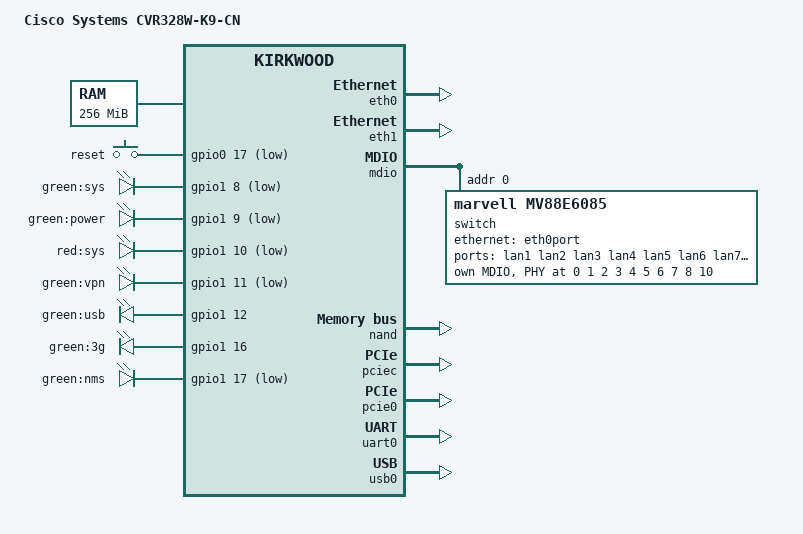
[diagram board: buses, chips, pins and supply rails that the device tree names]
// SPDX-License-Identifier: GPL-2.0-or-later OR MIT

/dts-v1/;

#include "kirkwood.dtsi"
#include "kirkwood-6282.dtsi"

/ {
	model = "Cisco Systems CVR328W-K9-CN";
	compatible = "cisco,cvr328w", "cybertan,cvr328w", "marvell,kirkwood-88f6282", "marvell,kirkwood";

	aliases {
		led-boot = &led_power;
		led-failsafe = &led_sys_red;
		led-running = &led_power;
		led-upgrade = &led_sys_green;
		serial0 = &uart0;
	};

	chosen {
		/*
		 * "root" argument from the stock bootloader should be ignored
		 * as it'll prevent the kernel from finding the correct rootfs.
		 */
		bootargs-append = " ro root=";
		stdout-path = "serial0:115200n8";
	};

	memory@0 {
		device_type = "memory";
		reg = <0x00000000 0x10000000>;
	};

	gpio-keys {
		compatible = "gpio-keys";
		pinctrl-0 = <&pmx_buttons>;
		pinctrl-names = "default";

		reset {
			label = "reset";
			gpios = <&gpio0 17 GPIO_ACTIVE_LOW>;
			linux,code = <KEY_RESTART>;
		};
	};

	gpio-leds {
		compatible = "gpio-leds";
		pinctrl-0 = <&pmx_leds>;
		pinctrl-names = "default";

		led_sys_green: sys-green {
			label = "green:sys";
			gpios = <&gpio1 8 GPIO_ACTIVE_LOW>;
		};

		led_power: power {
			label = "green:power";
			gpios = <&gpio1 9 GPIO_ACTIVE_LOW>;
		};

		/* Note: sys-green and sys-red cannot be activated simultaneously */
		led_sys_red: sys-red {
			label = "red:sys";
			gpios = <&gpio1 10 GPIO_ACTIVE_LOW>;
		};

		vpn {
			label = "green:vpn";
			gpios = <&gpio1 11 GPIO_ACTIVE_LOW>;
		};

		usb {
			label = "green:usb";
			gpios = <&gpio1 12 GPIO_ACTIVE_HIGH>;
			trigger-sources = <&hub_port1>;
			linux,default-trigger = "usbport";
		};

		3g {
			label = "green:3g";
			gpios = <&gpio1 16 GPIO_ACTIVE_HIGH>;
			trigger-sources = <&hub_port4>;
			linux,default-trigger = "usbport";
		};

		nms {
			label = "green:nms";
			gpios = <&gpio1 17 GPIO_ACTIVE_LOW>;
		};
	};
};

&eth0 {
	status = "okay";

	ethernet0-port@0 {
		phy-mode = "gmii";
		speed = <1000>;
		duplex = <1>;
	};
};

/* Need to "set" eth1 to "MII mode", so eth0 can enter GMII mode */
&eth1 {
	status = "okay";

	ethernet1-port@0 {
		phy-mode = "internal";
	};
};

&mdio {
	status = "okay";

	switch@0 {
		/* Marvell 88E6095F */
		compatible = "marvell,mv88e6085";
		reg = <0>;

		ports {
			#address-cells = <1>;
			#size-cells = <0>;

			port@0 {
				reg = <0>;
				label = "lan1";
			};

			port@1 {
				reg = <1>;
				label = "lan2";
			};

			port@2 {
				reg = <2>;
				label = "lan3";
			};

			port@3 {
				reg = <3>;
				label = "lan4";
			};

			port@4 {
				reg = <4>;
				label = "lan5";
			};

			port@5 {
				reg = <5>;
				label = "lan6";
			};

			port@6 {
				reg = <6>;
				label = "lan7";
			};

			port@7 {
				reg = <7>;
				label = "lan8";
			};

			port@8 {
				reg = <8>;
				label = "lan0";
			};

			port@9 {
				reg = <9>;
				label = "cpu";
				phy-mode = "gmii";
				ethernet = <&eth0port>;

				fixed-link {
					speed = <1000>;
					full-duplex;
				};
			};

			port@a {
				reg = <10>;
				label = "wan0";
			};
		};

		mdio {
			#address-cells = <1>;
			#size-cells = <0>;

			switch0phy0@0 {
				reg = <0>;
			};

			switch0phy1@1 {
				reg = <1>;
			};

			switch0phy2@2 {
				reg = <2>;
			};

			switch0phy3@3 {
				reg = <3>;
			};

			switch0phy4@4 {
				reg = <4>;
			};

			switch0phy5@5 {
				reg = <5>;
			};

			switch0phy6@6 {
				reg = <6>;
			};

			switch0phy7@7 {
				reg = <7>;
			};

			ethernet-phy@8 {
				/* Marvell 88E1114 */
				reg = <8>;
				/* Disable WAN1 LED */
				marvell,reg-init = <3 16 0xff0f 0x80>;
			};

			ethernet-phy@a {
				/* Marvell 88E1114 */
				reg = <10>;
			};
		};
	};
};

&nand {
	status = "okay";

	partitions {
		compatible = "fixed-partitions";
		#address-cells = <1>;
		#size-cells = <1>;

		partition@0 {
			label = "u-boot";
			reg = <0x0 0xa0000>;
			read-only;
		};

		partition@a0000 {
			label = "u-boot-env";
			reg = <0xa0000 0x20000>;
		};

		/* Looks like something related to bad block management */
		partition@c0000 {
			label = "unknown";
			reg = <0xc0000 0x40000>;
			read-only;
		};

		partition@100000 {
			compatible = "denx,uimage";
			label = "firmware1";
			reg = <0x100000 0x2800000>;
			openwrt,cmdline-match = "cur_runtime_image_num=1";
		};

		partition@2900000 {
			compatible = "denx,uimage";
			label = "firmware";
			reg = <0x2900000 0x5540000>;
			openwrt,cmdline-match = "cur_runtime_image_num=2";
		};

		partition@7e40000 {
			label = "nvram";
			reg = <0x7e40000 0x100000>;
			read-only;
		};

		/* There is a JFFS2 filesystem at offset 0x80000 mounted at /etc/ca */
		partition@7f40000 {
			label = "CA_DATA";
			reg = <0x7f40000 0xc0000>;
			read-only;
		};
	};
};

&pinctrl {
	pmx_buttons: pmx-buttons {
		marvell,pins = "mpp17";
		marvell,function = "gpio";
	};

	pmx_leds: pmx-leds {
		marvell,pins = "mpp40", "mpp41", "mpp42", "mpp43", "mpp44", "mpp48";
		marvell,function = "gpio";
	};
};

/*
 * There is no battery on the board, so the RTC does not keep
 * time when there is no power, making it useless.
 */
&rtc {
	status = "disabled";
};

&pciec {
	status = "okay";
};

&pcie0 {
	status = "okay";
};

&uart0 {
	status = "okay";
};

&usb0 {
	status = "okay";
	#address-cells = <1>;
	#size-cells = <0>;

	port@1 {
		reg = <1>;
		#address-cells = <1>;
		#size-cells = <0>;
		#trigger-source-cells = <0>;

		hub_port1: port@1 {
			reg = <1>;
			#trigger-source-cells = <0>;
		};

		hub_port4: port@4 {
			reg = <4>;
			#trigger-source-cells = <0>;
		};
	};
};
